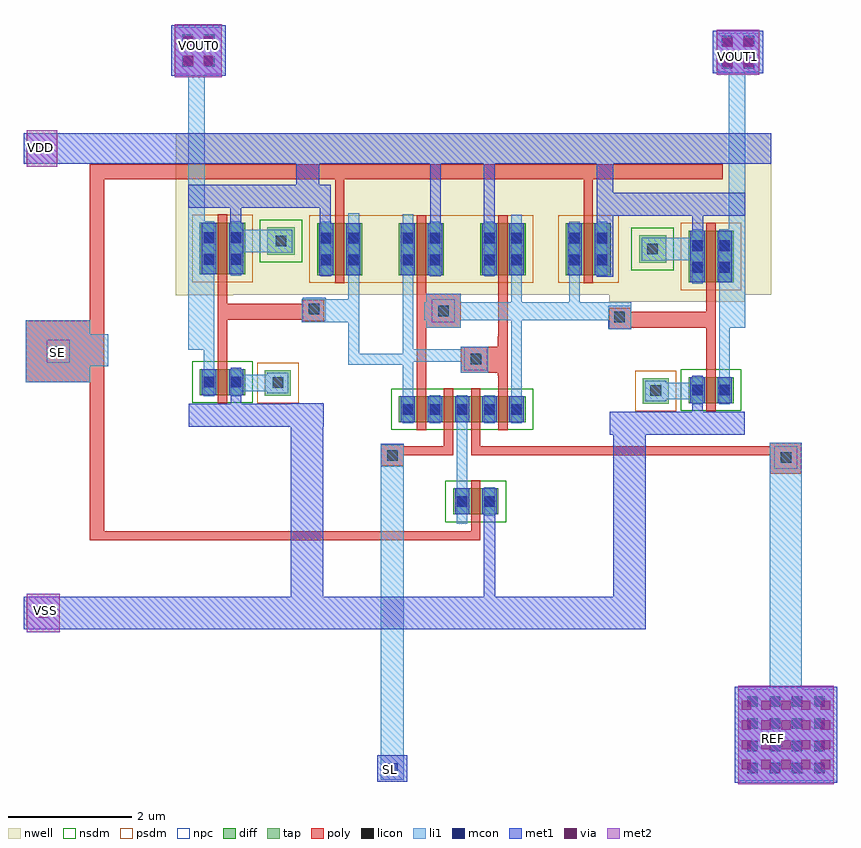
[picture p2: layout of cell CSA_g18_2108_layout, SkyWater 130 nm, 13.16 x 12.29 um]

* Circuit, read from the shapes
.subckt CSA_g18_2108_layout REF SE SL VDD VOUT0 VOUT1 VSS
XM1 VSS inv_D1_1v8_0/IN VOUT0 VSS sky130_fd_pr__nfet_01v8 w=0.42 l=0.15
XM2 n1 inv_D1_1v8_10/IN inv_D1_1v8_0/IN VSS sky130_fd_pr__nfet_01v8 w=0.42 l=0.15
XM3 n2 SL n1 VSS sky130_fd_pr__nfet_01v8 w=0.42 l=0.15
XM4 VSS SE n2 VSS sky130_fd_pr__nfet_01v8 w=0.42 l=0.15
XM5 n3 REF n2 VSS sky130_fd_pr__nfet_01v8 w=0.42 l=0.15
XM6 inv_D1_1v8_10/IN inv_D1_1v8_0/IN n3 VSS sky130_fd_pr__nfet_01v8 w=0.42 l=0.15
XM7 VOUT1 inv_D1_1v8_10/IN VSS VSS sky130_fd_pr__nfet_01v8 w=0.42 l=0.15
XM8 VDD inv_D1_1v8_0/IN VOUT0 VDD sky130_fd_pr__pfet_01v8 w=0.84 l=0.15
XM9 inv_D1_1v8_0/IN SE VDD VDD sky130_fd_pr__pfet_01v8 w=0.84 l=0.15
XM10 VDD inv_D1_1v8_10/IN inv_D1_1v8_0/IN VDD sky130_fd_pr__pfet_01v8 w=0.84 l=0.15
XM11 inv_D1_1v8_10/IN inv_D1_1v8_0/IN VDD VDD sky130_fd_pr__pfet_01v8 w=0.84 l=0.15
XM12 VDD SE inv_D1_1v8_10/IN VDD sky130_fd_pr__pfet_01v8 w=0.84 l=0.15
XM13 VOUT1 inv_D1_1v8_10/IN VDD VDD sky130_fd_pr__pfet_01v8 w=0.84 l=0.15
.ends

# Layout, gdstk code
from math import pi, radians
import gdstk
lib = gdstk.Library(unit=1e-6, precision=1e-09)
def R(c, l, rs):  # rectangles x0, y0, x1, y1
    for r in rs: c.add(gdstk.rectangle(r[:2], r[2:], *l))
def A(c, l, x, y, w, h, nx, ny, dx, dy):  # array of equal rectangles
    R(c, l, [(x+i*dx, y+j*dy, x+i*dx+w, y+j*dy+h) for i in range(nx) for j in range(ny)])
nwell = (64, 20)
diff = (65, 20)
tap = (65, 44)
poly = (66, 20)
licon = (66, 44)
li1 = (67, 20)
mcon = (67, 44)
met1 = (68, 20)
via = (68, 44)
met2 = (69, 20)
nsdm = (93, 44)
psdm = (94, 20)
npc = (95, 20)

sky130_fd_pr__pfet_01v8_ = lib.new_cell('sky130_fd_pr__pfet_01v8_6PK3KM')
R(sky130_fd_pr__pfet_01v8_, nwell, [(-0.545,-0.73,0.545,0.73)])
R(sky130_fd_pr__pfet_01v8_, diff, [(-0.365,-0.42,0.365,0.42)])
R(sky130_fd_pr__pfet_01v8_, poly, [(-0.075,-0.55,0.075,0.55)])
R(sky130_fd_pr__pfet_01v8_, licon, [(-0.305,-0.255,-0.135,-0.085), (0.135,-0.255,0.305,-0.085), (-0.305,0.085,-0.135,0.255), (0.135,0.085,0.305,0.255)])
R(sky130_fd_pr__pfet_01v8_, li1, [(-0.305,-0.44,-0.135,0.44), (0.135,-0.44,0.305,0.44)])
R(sky130_fd_pr__pfet_01v8_, mcon, [(-0.305,-0.265,-0.135,-0.095), (0.135,-0.265,0.305,-0.095), (-0.305,0.095,-0.135,0.265), (0.135,0.095,0.305,0.265)])
R(sky130_fd_pr__pfet_01v8_, met1, [(-0.335,-0.42,-0.105,0.42), (0.105,-0.42,0.335,0.42)])
R(sky130_fd_pr__pfet_01v8_, psdm, [(-0.49,-0.545,0.49,0.545)])

sky130_fd_pr__nfet_01v8_ = lib.new_cell('sky130_fd_pr__nfet_01v8_FNPZCM')
R(sky130_fd_pr__nfet_01v8_, diff, [(-0.365,-0.21,0.365,0.21)])
R(sky130_fd_pr__nfet_01v8_, poly, [(-0.075,-0.34,0.075,0.34)])
R(sky130_fd_pr__nfet_01v8_, licon, [(-0.305,-0.085,-0.135,0.085), (0.135,-0.085,0.305,0.085)])
R(sky130_fd_pr__nfet_01v8_, li1, [(-0.305,-0.23,-0.135,0.23), (0.135,-0.23,0.305,0.23)])
R(sky130_fd_pr__nfet_01v8_, mcon, [(-0.305,-0.085,-0.135,0.085), (0.135,-0.085,0.305,0.085)])
R(sky130_fd_pr__nfet_01v8_, met1, [(-0.335,-0.21,-0.105,0.21), (0.105,-0.21,0.335,0.21)])
R(sky130_fd_pr__nfet_01v8_, nsdm, [(-0.49,-0.335,0.49,0.335)])

lv_1v8_pmostap_substrate = lib.new_cell('LV_1v8_pmosTap_substrate')
R(lv_1v8_pmostap_substrate, tap, [(-0.15,-0.1,0.29,0.34)])
R(lv_1v8_pmostap_substrate, licon, [(-0.015,0.035,0.155,0.205)])
R(lv_1v8_pmostap_substrate, li1, [(-0.11,-0.07,0.25,0.3)])
R(lv_1v8_pmostap_substrate, nsdm, [(-0.275,-0.225,0.415,0.465)])

lv_1v8_nmostap_substrate = lib.new_cell('LV_1v8_nmosTap_substrate_Pwell')
R(lv_1v8_nmostap_substrate, tap, [(-0.22,-0.18,0.2,0.23)])
R(lv_1v8_nmostap_substrate, licon, [(-0.095,-0.05,0.075,0.12)])
R(lv_1v8_nmostap_substrate, li1, [(-0.18,-0.14,0.16,0.19)])
R(lv_1v8_nmostap_substrate, psdm, [(-0.345,-0.305,0.325,0.355)])

inv_d1_1v8 = lib.new_cell('inv_D1_1v8')
R(inv_d1_1v8, nwell, [(-1.1,0,1.09,1.46)])
R(inv_d1_1v8, poly, [(0.47,-1.115,0.62,-0.42), (-1.1,-0.45,-0.75,-0.42), (-1.1,-0.42,0.62,-0.16), (-1.1,-0.16,-0.75,-0.1), (0.47,-0.16,0.62,0.19)])
R(inv_d1_1v8, licon, [(-1.02,-0.335,-0.85,-0.165)])
R(inv_d1_1v8, li1, [(-0.52,-1.58,0.37,-1.31), (0.68,-1.445,0.85,-0.42), (-1.1,-0.45,-0.75,-0.1), (0.68,-0.42,1.1,-0.15), (0.68,-0.15,0.85,0.43), (-0.57,0.67,0.35,1.03)])
R(inv_d1_1v8, met1, [(-1.095,-2.15,1.09,-1.78), (0.24,-1.78,0.41,-1.2), (0.24,0.83,0.42,1.39), (-1.105,1.39,1.1,1.76)])
R(inv_d1_1v8, npc, [(-1.12,-0.435,-0.75,-0.065)])
inv_d1_1v8.add(gdstk.Reference(sky130_fd_pr__pfet_01v8_, (0.545,0.73)))
inv_d1_1v8.add(gdstk.Reference(sky130_fd_pr__nfet_01v8_, (0.545,-1.43)))
inv_d1_1v8.add(gdstk.Reference(lv_1v8_pmostap_substrate, (-0.47,0.73)))
inv_d1_1v8.add(gdstk.Reference(lv_1v8_nmostap_substrate, (-0.34,-1.47)))
inv_d1_1v8.add(gdstk.Label('OUT', (0.94,-0.29), layer=67, texttype=16))
inv_d1_1v8.add(gdstk.Label('VDD', (0.23,1.61), layer=68, texttype=16))
inv_d1_1v8.add(gdstk.Label('VSS', (0.21,-1.99), layer=68, texttype=16))
inv_d1_1v8.add(gdstk.Label('IN', (-0.95,-0.25), layer=67, texttype=16))

csa_g18_2108_layout = lib.new_cell('CSA_g18_2108_layout')
R(csa_g18_2108_layout, nwell, [(-3.61,1.88,-2.68,1.89), (-3.61,1.89,6.02,3.03), (-3.61,3.03,-3.09,3.19), (-2.3,3.03,6.02,3.19), (-3.61,3.19,6.02,4.5)])
R(csa_g18_2108_layout, poly, [(-4.995,-2.08,1.32,-2.01), (-5,-2.01,1.32,-1.93), (-5,-1.93,-4.76,0.48), (1.17,-1.93,1.32,-1.7), (6,-1,6.51,-0.705), (-0.29,-0.87,0.08,-0.705), (-0.29,-0.705,0.88,-0.555), (1.17,-0.705,6.51,-0.555), (-0.29,-0.555,0.08,-0.53), (0.73,-0.555,0.88,0.32), (1.17,-0.555,1.32,-0.22), (6,-0.555,6.51,-0.5), (0.29,0.175,0.44,1.36), (1.61,0.265,1.76,0.59), (-6.03,0.48,-4.76,1.47), (1.6,0.59,1.76,0.63), (1,0.63,1.76,1.05), (1.6,1.05,1.76,1.21), (1.61,1.21,1.76,2.96), (0.29,1.36,1,1.91), (-5,1.47,-4.76,3.76), (0.29,1.91,0.44,2.705), (-1.03,3.13,-0.88,3.76), (2.99,3.16,3.14,3.76), (-5,3.76,5.24,4)])
R(csa_g18_2108_layout, licon, [(6.175,-0.825,6.345,-0.655), (-0.19,-0.79,-0.02,-0.62), (1.16,0.77,1.33,0.94), (-5.595,0.89,-5.425,1.06), (0.635,1.545,0.805,1.715)])
R(csa_g18_2108_layout, li1, [(5.49,-5.97,7.03,-4.48), (-0.29,-5.955,0.08,-0.53), (6,-4.48,6.52,-0.5), (0.94,-1.815,1.11,0.27), (1.82,0.11,1.99,1.48), (0.06,0.12,0.23,0.76), (-6.03,0.48,-4.99,0.735), (1,0.63,1.45,0.81), (-6.03,0.735,-4.7,1.255), (-0.82,0.76,0.23,0.81), (-0.82,0.81,1.45,0.94), (-0.82,0.94,-0.64,1.45), (0.06,0.94,1.45,1.01), (-3.405,1.005,-3.135,5.46), (0.06,1.01,0.23,3.195), (1,1.01,1.45,1.05), (-6.03,1.255,-4.99,1.48), (0.44,1.36,1,1.48), (5.335,1.36,5.605,5.5), (-1.57,1.45,-0.64,1.82), (0.415,1.48,3.755,1.77), (0.44,1.77,1,1.91), (1.82,1.77,1.99,3.185), (2.76,1.77,2.93,2.56), (-0.82,1.82,-0.64,3.21), (-3.62,5.46,-2.86,6.22), (5.14,5.5,5.83,6.13)])
A(csa_g18_2108_layout, mcon, 5.635, -5.85, 0.17, 0.17, 4, 4, 0.36, 0.36)
R(csa_g18_2108_layout, mcon, [(-0.19,-5.855,-0.02,-5.685), (5.22,5.55,5.39,5.72), (5.58,5.55,5.75,5.72), (-3.505,5.575,-3.335,5.745), (-3.145,5.575,-2.975,5.745), (5.22,5.91,5.39,6.08), (5.58,5.91,5.75,6.08), (-3.505,5.935,-3.335,6.105), (-3.145,5.935,-2.975,6.105)])
R(csa_g18_2108_layout, met1, [(5.43,-6,7.09,-4.45), (-0.35,-5.985,0.14,-5.555), (-6.065,-3.52,3.995,-2.99), (-1.75,-2.99,-1.22,0.14), (1.37,-2.99,1.56,-1.43), (3.465,-2.99,3.995,-0.135), (3.2,2.18,3.47,4.01), (0.51,2.19,0.68,4.01), (-1.28,2.2,-1.1,3.67), (1.37,2.6,1.55,4.01), (-1.655,3.3,-1.285,4.01), (-6.065,4.01,6.02,4.5), (-3.68,5.43,-2.8,6.25), (5.08,5.47,5.89,6.16)])
A(csa_g18_2108_layout, via, 5.545, -5.78, 0.15, 0.15, 5, 4, 0.32, 0.32)
R(csa_g18_2108_layout, via, [(-5.825,-3.33,-5.675,-3.18), (-5.845,4.18,-5.695,4.33), (5.25,5.58,5.4,5.73), (5.57,5.58,5.72,5.73), (-3.475,5.605,-3.325,5.755), (-3.155,5.605,-3.005,5.755), (5.25,5.9,5.4,6.05), (5.57,5.9,5.72,6.05), (-3.475,5.925,-3.325,6.075), (-3.155,5.925,-3.005,6.075)])
R(csa_g18_2108_layout, met2, [(5.49,-6.02,7.03,-4.43), (-6.015,-3.57,-5.485,-2.94), (-6.015,3.96,-5.525,4.55), (-3.62,5.41,-2.86,6.27), (5.14,5.45,5.83,6.18)])
R(csa_g18_2108_layout, psdm, [(-0.465,2.085,-0.125,3.175), (0.855,2.085,1.195,3.175)])
R(csa_g18_2108_layout, npc, [(6.075,-0.925,6.445,-0.555), (-0.29,-0.89,0.08,-0.52), (1.06,0.67,1.43,1.04), (-5.695,0.79,-5.325,1.16), (0.535,1.445,0.905,1.815)])
csa_g18_2108_layout.add(gdstk.Reference(inv_d1_1v8, (-2.305,1.91), rotation=pi, x_reflection=True))
csa_g18_2108_layout.add(gdstk.Reference(sky130_fd_pr__pfet_01v8_, (-0.955,2.63)))
csa_g18_2108_layout.add(gdstk.Reference(sky130_fd_pr__nfet_01v8_, (0.365,0.04)))
csa_g18_2108_layout.add(gdstk.Reference(sky130_fd_pr__nfet_01v8_, (0.805,0.04)))
csa_g18_2108_layout.add(gdstk.Reference(sky130_fd_pr__nfet_01v8_, (1.245,0.04)))
csa_g18_2108_layout.add(gdstk.Reference(sky130_fd_pr__nfet_01v8_, (1.245,-1.45)))
csa_g18_2108_layout.add(gdstk.Reference(sky130_fd_pr__pfet_01v8_, (0.365,2.63)))
csa_g18_2108_layout.add(gdstk.Reference(sky130_fd_pr__nfet_01v8_, (1.685,0.04)))
csa_g18_2108_layout.add(gdstk.Reference(sky130_fd_pr__pfet_01v8_, (1.685,2.63)))
csa_g18_2108_layout.add(gdstk.Reference(sky130_fd_pr__pfet_01v8_, (3.065,2.63)))
csa_g18_2108_layout.add(gdstk.Reference(inv_d1_1v8, (4.505,1.78)))
csa_g18_2108_layout.add(gdstk.Label('SE', (-5.52,0.96), layer=67, texttype=16))
csa_g18_2108_layout.add(gdstk.Label('VDD', (-5.8,4.27), layer=69, texttype=16))
csa_g18_2108_layout.add(gdstk.Label('VOUT0', (-3.23,5.93), layer=69, texttype=16))
csa_g18_2108_layout.add(gdstk.Label('VOUT1', (5.49,5.75), layer=69, texttype=16))
csa_g18_2108_layout.add(gdstk.Label('VSS', (-5.72,-3.21), layer=69, texttype=16))
csa_g18_2108_layout.add(gdstk.Label('REF', (6.06,-5.29), layer=69, texttype=16))
csa_g18_2108_layout.add(gdstk.Label('SL', (-0.14,-5.78), layer=68, texttype=16))

lib.write_gds('CSA_g18_2108_layout.gds')
